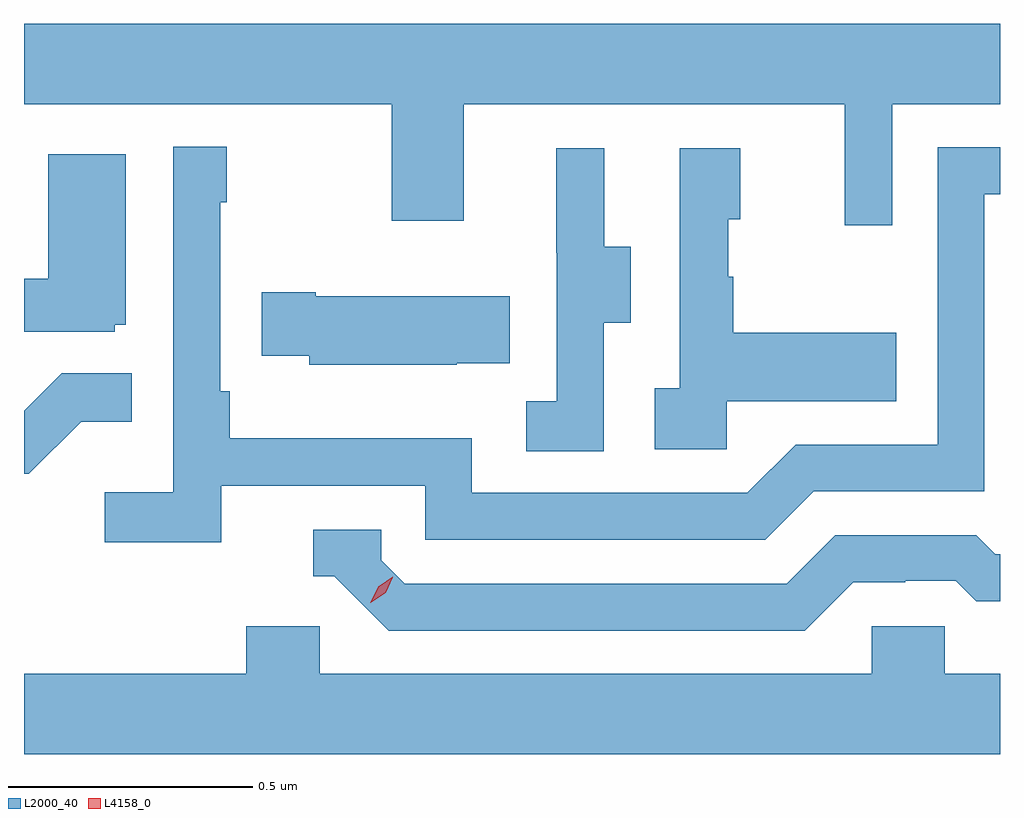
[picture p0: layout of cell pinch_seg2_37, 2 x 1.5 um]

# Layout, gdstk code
import gdstk
lib = gdstk.Library(unit=1e-6, precision=1e-09)
def P(c, l, *ps):  # polygons
    for p in ps: c.add(gdstk.Polygon(p, *l))
L2000_40 = (2000, 40)
L4158_0 = (4158, 0)

pinch_seg2_37 = lib.new_cell('pinch_seg2_37')
P(pinch_seg2_37, L2000_40, [(1132.995,648.968),(1133.216,648.968),(1133.216,649.132),(1131.216,649.132),(1131.216,648.968),(1131.97,648.968),(1131.97,648.729),(1132.117,648.729),(1132.117,648.968),(1132.898,648.968),(1132.898,648.72),(1132.995,648.72)],
  [(1131.62,648.186),(1132.038,648.186),(1132.038,648.075),(1132.735,648.075),(1132.834,648.174),(1133.184,648.174),(1133.184,648.783),(1133.216,648.783),(1133.216,648.879),(1133.088,648.879),(1133.088,648.27),(1132.797,648.27),(1132.698,648.171),(1132.134,648.171),(1132.134,648.283),(1131.638,648.283),(1131.638,648.379),(1131.618,648.379),(1131.618,648.767),(1131.631,648.767),(1131.631,648.88),(1131.522,648.88),(1131.522,648.172),(1131.381,648.172),(1131.381,648.07),(1131.62,648.07)],
  [(1132.656,648.359),(1133.003,648.359),(1133.003,648.499),(1132.669,648.499),(1132.669,648.614),(1132.659,648.614),(1132.659,648.732),(1132.684,648.732),(1132.684,648.877),(1132.56,648.877),(1132.56,648.386),(1132.509,648.386),(1132.509,648.261),(1132.656,648.261)],
  [(1132.404,648.52),(1132.459,648.52),(1132.459,648.675),(1132.405,648.675),(1132.405,648.877),(1132.307,648.877),(1132.307,648.663),(1132.308,648.663),(1132.308,648.359),(1132.245,648.359),(1132.245,648.256),(1132.404,648.256)],
  [(1131.402,648.516),(1131.424,648.516),(1131.424,648.865),(1131.266,648.865),(1131.266,648.61),(1131.216,648.61),(1131.216,648.501),(1131.402,648.501)],
  [(1132.103,648.437),(1132.211,648.437),(1132.211,648.574),(1131.814,648.574),(1131.814,648.582),(1131.703,648.582),(1131.703,648.452),(1131.801,648.452),(1131.801,648.434),(1132.103,648.434)],
  [(1131.333,648.317),(1131.437,648.317),(1131.437,648.416),(1131.293,648.416),(1131.216,648.339),(1131.216,648.21),(1131.226,648.21)],
  [(1132.915,647.988),(1133.022,647.988),(1133.022,647.991),(1133.125,647.991),(1133.167,647.949),(1133.216,647.949),(1133.216,648.045),(1133.206,648.045),(1133.167,648.084),(1132.878,648.084),(1132.779,647.985),(1131.996,647.985),(1131.948,648.033),(1131.948,648.096),(1131.809,648.096),(1131.809,648),(1131.852,648),(1131.963,647.889),(1132.816,647.889)],
  [(1133.216,647.8),(1133.103,647.8),(1133.103,647.898),(1132.953,647.898),(1132.953,647.8),(1131.822,647.8),(1131.822,647.898),(1131.671,647.898),(1131.671,647.8),(1131.216,647.8),(1131.216,647.636),(1133.216,647.636)])
P(pinch_seg2_37, L4158_0, [(1131.926,647.946),(1131.926,647.946),(1131.942,647.979),(1131.972,647.999),(1131.972,647.999),(1131.972,647.998),(1131.957,647.966),(1131.927,647.946)])

lib.write_gds('pinch_seg2_37.gds')
